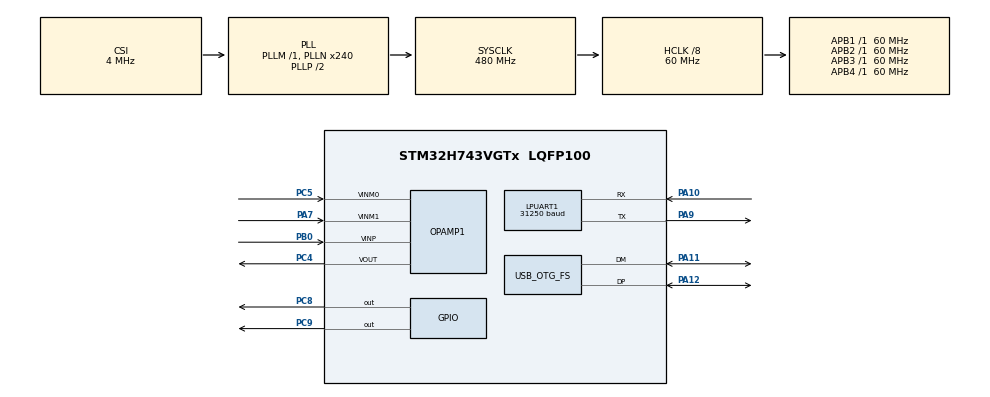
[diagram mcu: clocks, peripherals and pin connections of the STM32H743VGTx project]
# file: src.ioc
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ADC1.Channel-1\#ChannelRegularConversion=ADC_CHANNEL_4
ADC1.ContinuousConvMode=ENABLE
ADC1.ConversionDataManagement=ADC_CONVERSIONDATA_DMA_CIRCULAR
ADC1.NbrOfConversionFlag=1
ADC1.OffsetNumber-1\#ChannelRegularConversion=ADC_OFFSET_NONE
ADC1.OffsetSignedSaturation-1\#ChannelRegularConversion=DISABLE
ADC1.OversamplingMode=ENABLE
ADC1.Rank-1\#ChannelRegularConversion=1
ADC1.Ratio=32
ADC1.RightBitShift=ADC_RIGHTBITSHIFT_5
ADC1.SamplingTime-1\#ChannelRegularConversion=ADC_SAMPLETIME_16CYCLES_5
ADC1.master=1
Bdma.LPUART1_TX.0.Direction=DMA_MEMORY_TO_PERIPH
Bdma.LPUART1_TX.0.EventEnable=DISABLE
Bdma.LPUART1_TX.0.Instance=BDMA_Channel0
Bdma.LPUART1_TX.0.MemDataAlignment=DMA_MDATAALIGN_BYTE
Bdma.LPUART1_TX.0.MemInc=DMA_MINC_ENABLE
Bdma.LPUART1_TX.0.Mode=DMA_NORMAL
Bdma.LPUART1_TX.0.PeriphDataAlignment=DMA_PDATAALIGN_BYTE
Bdma.LPUART1_TX.0.PeriphInc=DMA_PINC_DISABLE
Bdma.LPUART1_TX.0.Polarity=HAL_DMAMUX_REQ_GEN_RISING
Bdma.LPUART1_TX.0.Priority=DMA_PRIORITY_LOW
Bdma.LPUART1_TX.0.RequestNumber=1
Bdma.LPUART1_TX.0.SignalID=NONE
Bdma.LPUART1_TX.0.SyncEnable=DISABLE
Bdma.LPUART1_TX.0.SyncPolarity=HAL_DMAMUX_SYNC_NO_EVENT
Bdma.LPUART1_TX.0.SyncRequestNumber=1
Bdma.LPUART1_TX.0.SyncSignalID=NONE
Bdma.Request0=LPUART1_TX
Bdma.RequestsNb=1
CORTEX_M7.default_mode_Activation=1
Dma.ADC1.0.Direction=DMA_PERIPH_TO_MEMORY
Dma.ADC1.0.EventEnable=DISABLE
Dma.ADC1.0.FIFOMode=DMA_FIFOMODE_DISABLE
Dma.ADC1.0.Instance=DMA1_Stream0
Dma.ADC1.0.MemDataAlignment=DMA_MDATAALIGN_HALFWORD
Dma.ADC1.0.MemInc=DMA_MINC_ENABLE
Dma.ADC1.0.Mode=DMA_CIRCULAR
Dma.ADC1.0.PeriphDataAlignment=DMA_PDATAALIGN_HALFWORD
Dma.ADC1.0.PeriphInc=DMA_PINC_DISABLE
Dma.ADC1.0.Polarity=HAL_DMAMUX_REQ_GEN_RISING
Dma.ADC1.0.Priority=DMA_PRIORITY_LOW
Dma.ADC1.0.RequestNumber=1
Dma.ADC1.0.SignalID=NONE
Dma.ADC1.0.SyncEnable=DISABLE
Dma.ADC1.0.SyncPolarity=HAL_DMAMUX_SYNC_NO_EVENT
Dma.ADC1.0.SyncRequestNumber=1
Dma.ADC1.0.SyncSignalID=NONE
Dma.Request0=ADC1
LPUART1.BaudRate=31250
LPUART1.Mode=UART_MODE_TX
Mcu.Family=STM32H7
Mcu.Name=STM32H743VGTx
Mcu.Package=LQFP100
NVIC.BDMA_Channel0_IRQn=true\:0\:0\:false\:false\:true\:false\:true\:true
NVIC.DMA1_Stream0_IRQn=true\:0\:0\:false\:false\:true\:false\:true\:true
NVIC.LPUART1_IRQn=true\:0\:0\:false\:false\:true\:false\:true\:true
NVIC.OTG_FS_IRQn=true\:0\:0\:false\:false\:true\:false\:true\:true
NVIC.PriorityGroup=NVIC_PRIORITYGROUP_4
OPAMP1.PgaGain=OPAMP_PGA_GAIN_16_OR_MINUS_15
OPAMP1.SelfCalibration=Enable
OPAMP1.UserTrimming=OPAMP_TRIMMING_USER
PA10.Mode=Asynchronous
PA10.Signal=LPUART1_RX
PA11.Mode=Device_Only
PA11.Signal=USB_OTG_FS_DM
PA12.Mode=Device_Only
PA12.Signal=USB_OTG_FS_DP
PA13\ (JTMS/SWDIO).Mode=Trace_Asynchronous_SW
PA13\ (JTMS/SWDIO).Signal=DEBUG_JTMS-SWDIO
PA14\ (JTCK/SWCLK).Mode=Trace_Asynchronous_SW
PA14\ (JTCK/SWCLK).Signal=DEBUG_JTCK-SWCLK
PA7.Mode=PGA Connected-INVERTINGINPUT_IO0_IO1_BIAS
PA7.Signal=OPAMP1_VINM1
PA9.Mode=Asynchronous
PA9.Signal=LPUART1_TX
PB0.Mode=PGA Connected-INVERTINGINPUT_IO0_IO1_BIAS
PB0.Signal=OPAMP1_VINP
PB3\ (JTDO/TRACESWO).Mode=Trace_Asynchronous_SW
PB3\ (JTDO/TRACESWO).Signal=DEBUG_JTDO-SWO
PC4.Mode=PGA Connected-INVERTINGINPUT_IO0_IO1_BIAS
PC4.Signal=OPAMP1_VOUT
PC5.Mode=PGA Connected-INVERTINGINPUT_IO0_IO1_BIAS
PC5.Signal=OPAMP1_VINM0
PC8.Signal=GPIO_Output
PC9.Signal=GPIO_Output
ProjectManager.HeapSize=0x200
ProjectManager.StackSize=0x400
ProjectManager.TargetToolchain=CMake
RCC.ADCFreq_Value=76800000
RCC.APB1Freq_Value=60000000
RCC.APB2Freq_Value=60000000
RCC.APB3Freq_Value=60000000
RCC.APB4Freq_Value=60000000
RCC.CKPERSourceSelection=RCC_CLKPSOURCE_CSI
RCC.CortexFreq_Value=60000000
RCC.Cortex_Div=SYSTICK_CLKSOURCE_HCLK_DIV8
RCC.DIVM1=1
RCC.DIVM2=1
RCC.DIVM3=1
RCC.DIVN1=240
RCC.DIVN2=96
RCC.DIVN3=4
RCC.DIVP2=5
RCC.DIVQ2=5
RCC.HCLKFreq_Value=60000000
RCC.HPRE=RCC_HCLK_DIV8
RCC.LPUART1CLockSelection=RCC_LPUART1CLKSOURCE_CSI
RCC.PLLSourceVirtual=RCC_PLLSOURCE_CSI
RCC.SYSCLKFreq_VALUE=480000000
RCC.SYSCLKSource=RCC_SYSCLKSOURCE_PLLCLK
RCC.USBCLockSelection=RCC_USBCLKSOURCE_HSI48
RCC.USBFreq_Value=48000000
USB_DEVICE.CLASS_NAME_FS=CDC
USB_DEVICE.VirtualMode-CDC_FS=Cdc
USB_DEVICE.VirtualModeFS=Cdc_FS
USB_OTG_FS.VirtualMode=Device_Only
VP_ADC1_OPAMP1_OUT.Mode=IN4-OPAMP1-Single-Ended
VP_MEMORYMAP_VS_MEMORYMAP.Mode=CurAppReg
VP_USB_DEVICE_VS_USB_DEVICE_CDC_FS.Mode=CDC_FS
VREF+.Mode=InternalMode
VREF+.Signal=VREFBUF_OUT
VREFBUF.VoltageScaling=SYSCFG_VREFBUF_VOLTAGE_SCALE2
board=custom

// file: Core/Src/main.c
/* USER CODE BEGIN Header */
/**
  ******************************************************************************
  * @file           : main.c
  * @brief          : Main program body
  ******************************************************************************
  * @attention
  *
  * Copyright (c) 2026 STMicroelectronics.
  * All rights reserved.
  *
  * This software is licensed under terms that can be found in the LICENSE file
  * in the root directory of this software component.
  * If no LICENSE file comes with this software, it is provided AS-IS.
  *
  ******************************************************************************
  */
/* USER CODE END Header */
#include "main.h"
#include "usb_device.h"

/* USER CODE BEGIN Includes */
#include "usbd_cdc_if.h"
#include "midiguitar.h"
/* USER CODE END Includes */

ADC_HandleTypeDef hadc1;
DMA_HandleTypeDef hdma_adc1;

UART_HandleTypeDef hlpuart1;
DMA_HandleTypeDef hdma_lpuart1_tx;

OPAMP_HandleTypeDef hopamp1;

void SystemClock_Config(void);
static void MPU_Config(void);
static void MX_GPIO_Init(void);
static void MX_BDMA_Init(void);
static void MX_DMA_Init(void);
static void MX_LPUART1_UART_Init(void);
static void MX_ADC1_Init(void);
static void MX_OPAMP1_Init(void);

int main(void)
{

  /* MPU Configuration--------------------------------------------------------*/
  MPU_Config();

  /* MCU Configuration--------------------------------------------------------*/

  /* Reset of all peripherals, Initializes the Flash interface and the Systick. */
  HAL_Init();

  /* Configure the system clock */
  SystemClock_Config();

  /* Initialize all configured peripherals */
  MX_GPIO_Init();
  MX_BDMA_Init();
  MX_DMA_Init();
  MX_LPUART1_UART_Init();
  MX_ADC1_Init();
  MX_OPAMP1_Init();
  MX_USB_DEVICE_Init();
  /* USER CODE BEGIN 2 */
  HAL_OPAMP_Start(&hopamp1);
  enum { N_INPUT = SAMPLES << 1 };
  __attribute__((section(".dma"))) static uint16_t inbuf[N_INPUT];
  bzero(inbuf, sizeof(inbuf));
  struct midiguitar mg = {};
  HAL_GPIO_WritePin(GPIOC, GPIO_PIN_8, GPIO_PIN_SET);
  HAL_ADC_Start_DMA(&hadc1, (uint32_t *)inbuf, N_INPUT);
  /* USER CODE END 2 */

  /* Infinite loop */
  /* USER CODE BEGIN WHILE */
  while (1)
  {
    const uint16_t k = __HAL_DMA_GET_COUNTER(hadc1.DMA_Handle);
    float input[SAMPLES];
    int32_t s = 0;
    for (uint16_t i = 0; i < SAMPLES; ++i) s += inbuf[(N_INPUT - k + i + SAMPLES) & (N_INPUT - 1)];
    s /= SAMPLES;
    for (uint16_t i = 0; i < SAMPLES; ++i)
      input[i] = (inbuf[(N_INPUT - k + i + SAMPLES) & (N_INPUT - 1)] - s) / 32768.0;
    __attribute__((section(".bdma"))) static uint8_t output[MIDI_CAP];
    const int t0 = HAL_GetTick();
    const int n = midiguitar(&mg, input, output);
    const int t1 = HAL_GetTick();
    if (!n) continue;
    while (HAL_UART_GetState(&hlpuart1) != HAL_UART_STATE_READY);
    HAL_UART_Transmit_DMA(&hlpuart1, output, n);
    __attribute__((section(".dma"))) static uint8_t telemetry[64];
    const int8_t l = sprintf((char *)telemetry, "%d %d %d\r\n", n, t1 - t0, (int)inbuf[0]);
    CDC_Transmit_FS(telemetry, l);
    HAL_GPIO_TogglePin(GPIOC, GPIO_PIN_9);
    /* USER CODE END WHILE */

  }
}

void SystemClock_Config(void)
{
  RCC_OscInitTypeDef RCC_OscInitStruct = {0};
  RCC_ClkInitTypeDef RCC_ClkInitStruct = {0};

  /** Supply configuration update enable
  */
  HAL_PWREx_ConfigSupply(PWR_LDO_SUPPLY);

  /** Configure the main internal regulator output voltage
  */
  __HAL_PWR_VOLTAGESCALING_CONFIG(PWR_REGULATOR_VOLTAGE_SCALE0);

  while(!__HAL_PWR_GET_FLAG(PWR_FLAG_VOSRDY)) {}

  /** Initializes the RCC Oscillators according to the specified parameters
  * in the RCC_OscInitTypeDef structure.
  */
  RCC_OscInitStruct.OscillatorType = RCC_OSCILLATORTYPE_HSI48|RCC_OSCILLATORTYPE_CSI;
  RCC_OscInitStruct.HSI48State = RCC_HSI48_ON;
  RCC_OscInitStruct.CSIState = RCC_CSI_ON;
  RCC_OscInitStruct.CSICalibrationValue = RCC_CSICALIBRATION_DEFAULT;
  RCC_OscInitStruct.PLL.PLLState = RCC_PLL_ON;
  RCC_OscInitStruct.PLL.PLLSource = RCC_PLLSOURCE_CSI;
  RCC_OscInitStruct.PLL.PLLM = 1;
  RCC_OscInitStruct.PLL.PLLN = 240;
  RCC_OscInitStruct.PLL.PLLP = 2;
  RCC_OscInitStruct.PLL.PLLQ = 2;
  RCC_OscInitStruct.PLL.PLLR = 2;
  RCC_OscInitStruct.PLL.PLLRGE = RCC_PLL1VCIRANGE_2;
  RCC_OscInitStruct.PLL.PLLVCOSEL = RCC_PLL1VCOWIDE;
  RCC_OscInitStruct.PLL.PLLFRACN = 0;
  if (HAL_RCC_OscConfig(&RCC_OscInitStruct) != HAL_OK)
  {
    Error_Handler();
  }

  /** Initializes the CPU, AHB and APB buses clocks
  */
  RCC_ClkInitStruct.ClockType = RCC_CLOCKTYPE_HCLK|RCC_CLOCKTYPE_SYSCLK
                              |RCC_CLOCKTYPE_PCLK1|RCC_CLOCKTYPE_PCLK2
                              |RCC_CLOCKTYPE_D3PCLK1|RCC_CLOCKTYPE_D1PCLK1;
  RCC_ClkInitStruct.SYSCLKSource = RCC_SYSCLKSOURCE_PLLCLK;
  RCC_ClkInitStruct.SYSCLKDivider = RCC_SYSCLK_DIV1;
  RCC_ClkInitStruct.AHBCLKDivider = RCC_HCLK_DIV8;
  RCC_ClkInitStruct.APB3CLKDivider = RCC_APB3_DIV1;
  RCC_ClkInitStruct.APB1CLKDivider = RCC_APB1_DIV1;
  RCC_ClkInitStruct.APB2CLKDivider = RCC_APB2_DIV1;
  RCC_ClkInitStruct.APB4CLKDivider = RCC_APB4_DIV1;

  if (HAL_RCC_ClockConfig(&RCC_ClkInitStruct, FLASH_LATENCY_0) != HAL_OK)
  {
    Error_Handler();
  }
}

static void MX_ADC1_Init(void)
{

  ADC_MultiModeTypeDef multimode = {0};
  ADC_ChannelConfTypeDef sConfig = {0};

  /** Common config
  */
  hadc1.Instance = ADC1;
  hadc1.Init.ClockPrescaler = ADC_CLOCK_ASYNC_DIV1;
  hadc1.Init.Resolution = ADC_RESOLUTION_16B;
  hadc1.Init.ScanConvMode = ADC_SCAN_DISABLE;
  hadc1.Init.EOCSelection = ADC_EOC_SINGLE_CONV;
  hadc1.Init.LowPowerAutoWait = DISABLE;
  hadc1.Init.ContinuousConvMode = ENABLE;
  hadc1.Init.NbrOfConversion = 1;
  hadc1.Init.DiscontinuousConvMode = DISABLE;
  hadc1.Init.ExternalTrigConv = ADC_SOFTWARE_START;
  hadc1.Init.ExternalTrigConvEdge = ADC_EXTERNALTRIGCONVEDGE_NONE;
  hadc1.Init.ConversionDataManagement = ADC_CONVERSIONDATA_DMA_CIRCULAR;
  hadc1.Init.Overrun = ADC_OVR_DATA_PRESERVED;
  hadc1.Init.LeftBitShift = ADC_LEFTBITSHIFT_NONE;
  hadc1.Init.OversamplingMode = ENABLE;
  hadc1.Init.Oversampling.Ratio = 32;
  hadc1.Init.Oversampling.RightBitShift = ADC_RIGHTBITSHIFT_5;
  hadc1.Init.Oversampling.TriggeredMode = ADC_TRIGGEREDMODE_SINGLE_TRIGGER;
  hadc1.Init.Oversampling.OversamplingStopReset = ADC_REGOVERSAMPLING_CONTINUED_MODE;
  if (HAL_ADC_Init(&hadc1) != HAL_OK)
  {
    Error_Handler();
  }

  /** Configure the ADC multi-mode
  */
  multimode.Mode = ADC_MODE_INDEPENDENT;
  if (HAL_ADCEx_MultiModeConfigChannel(&hadc1, &multimode) != HAL_OK)
  {
    Error_Handler();
  }

  /** Configure Regular Channel
  */
  sConfig.Channel = ADC_CHANNEL_4;
  sConfig.Rank = ADC_REGULAR_RANK_1;
  sConfig.SamplingTime = ADC_SAMPLETIME_16CYCLES_5;
  sConfig.SingleDiff = ADC_SINGLE_ENDED;
  sConfig.OffsetNumber = ADC_OFFSET_NONE;
  sConfig.Offset = 0;
  sConfig.OffsetSignedSaturation = DISABLE;
  if (HAL_ADC_ConfigChannel(&hadc1, &sConfig) != HAL_OK)
  {
    Error_Handler();
  }

}

static void MX_LPUART1_UART_Init(void)
{

  hlpuart1.Instance = LPUART1;
  hlpuart1.Init.BaudRate = 31250;
  hlpuart1.Init.WordLength = UART_WORDLENGTH_8B;
  hlpuart1.Init.StopBits = UART_STOPBITS_1;
  hlpuart1.Init.Parity = UART_PARITY_NONE;
  hlpuart1.Init.Mode = UART_MODE_TX;
  hlpuart1.Init.HwFlowCtl = UART_HWCONTROL_NONE;
  hlpuart1.Init.OneBitSampling = UART_ONE_BIT_SAMPLE_DISABLE;
  hlpuart1.Init.ClockPrescaler = UART_PRESCALER_DIV1;
  hlpuart1.AdvancedInit.AdvFeatureInit = UART_ADVFEATURE_NO_INIT;
  hlpuart1.FifoMode = UART_FIFOMODE_DISABLE;
  if (HAL_UART_Init(&hlpuart1) != HAL_OK)
  {
    Error_Handler();
  }
  if (HAL_UARTEx_SetTxFifoThreshold(&hlpuart1, UART_TXFIFO_THRESHOLD_1_8) != HAL_OK)
  {
    Error_Handler();
  }
  if (HAL_UARTEx_SetRxFifoThreshold(&hlpuart1, UART_RXFIFO_THRESHOLD_1_8) != HAL_OK)
  {
    Error_Handler();
  }
  if (HAL_UARTEx_DisableFifoMode(&hlpuart1) != HAL_OK)
  {
    Error_Handler();
  }

}

static void MX_OPAMP1_Init(void)
{

  hopamp1.Instance = OPAMP1;
  hopamp1.Init.Mode = OPAMP_PGA_MODE;
  hopamp1.Init.NonInvertingInput = OPAMP_NONINVERTINGINPUT_IO0;
  hopamp1.Init.PowerMode = OPAMP_POWERMODE_NORMAL;
  hopamp1.Init.PgaConnect = OPAMP_PGA_CONNECT_INVERTINGINPUT_IO0_IO1_BIAS;
  hopamp1.Init.PgaGain = OPAMP_PGA_GAIN_16_OR_MINUS_15;
  hopamp1.Init.UserTrimming = OPAMP_TRIMMING_USER;
  if (HAL_OPAMP_Init(&hopamp1) != HAL_OK)
  {
    Error_Handler();
  }
  if (HAL_OPAMP_SelfCalibrate(&hopamp1) != HAL_OK)
  {
    Error_Handler();
  }

}

static void MX_BDMA_Init(void)
{

  /* DMA controller clock enable */
  __HAL_RCC_BDMA_CLK_ENABLE();

  /* DMA interrupt init */
  /* BDMA_Channel0_IRQn interrupt configuration */
  HAL_NVIC_SetPriority(BDMA_Channel0_IRQn, 0, 0);
  HAL_NVIC_EnableIRQ(BDMA_Channel0_IRQn);

}

static void MX_DMA_Init(void)
{

  /* DMA controller clock enable */
  __HAL_RCC_DMA1_CLK_ENABLE();

  /* DMA interrupt init */
  /* DMA1_Stream0_IRQn interrupt configuration */
  HAL_NVIC_SetPriority(DMA1_Stream0_IRQn, 0, 0);
  HAL_NVIC_EnableIRQ(DMA1_Stream0_IRQn);

}

static void MX_GPIO_Init(void)
{
  GPIO_InitTypeDef GPIO_InitStruct = {0};

  /* GPIO Ports Clock Enable */
  __HAL_RCC_GPIOE_CLK_ENABLE();
  __HAL_RCC_GPIOC_CLK_ENABLE();
  __HAL_RCC_GPIOH_CLK_ENABLE();
  __HAL_RCC_GPIOA_CLK_ENABLE();
  __HAL_RCC_GPIOB_CLK_ENABLE();
  __HAL_RCC_GPIOD_CLK_ENABLE();

  /*Configure GPIO pin Output Level */
  HAL_GPIO_WritePin(GPIOC, GPIO_PIN_8|GPIO_PIN_9, GPIO_PIN_RESET);

  /*Configure GPIO pins : PE2 PE3 PE4 PE5
                           PE6 PE7 PE8 PE9
                           PE10 PE11 PE12 PE13
                           PE14 PE15 PE0 PE1 */
  GPIO_InitStruct.Pin = GPIO_PIN_2|GPIO_PIN_3|GPIO_PIN_4|GPIO_PIN_5
                          |GPIO_PIN_6|GPIO_PIN_7|GPIO_PIN_8|GPIO_PIN_9
                          |GPIO_PIN_10|GPIO_PIN_11|GPIO_PIN_12|GPIO_PIN_13
                          |GPIO_PIN_14|GPIO_PIN_15|GPIO_PIN_0|GPIO_PIN_1;
  GPIO_InitStruct.Mode = GPIO_MODE_ANALOG;
  GPIO_InitStruct.Pull = GPIO_NOPULL;
  HAL_GPIO_Init(GPIOE, &GPIO_InitStruct);

  /*Configure GPIO pins : PC13 PC14 PC15 PC0
                           PC1 PC2 PC3 PC6
                           PC7 PC10 PC11 PC12 */
  GPIO_InitStruct.Pin = GPIO_PIN_13|GPIO_PIN_14|GPIO_PIN_15|GPIO_PIN_0
                          |GPIO_PIN_1|GPIO_PIN_2|GPIO_PIN_3|GPIO_PIN_6
                          |GPIO_PIN_7|GPIO_PIN_10|GPIO_PIN_11|GPIO_PIN_12;
  GPIO_InitStruct.Mode = GPIO_MODE_ANALOG;
  GPIO_InitStruct.Pull = GPIO_NOPULL;
  HAL_GPIO_Init(GPIOC, &GPIO_InitStruct);

  /*Configure GPIO pins : PH0 PH1 */
  GPIO_InitStruct.Pin = GPIO_PIN_0|GPIO_PIN_1;
  GPIO_InitStruct.Mode = GPIO_MODE_ANALOG;
  GPIO_InitStruct.Pull = GPIO_NOPULL;
  HAL_GPIO_Init(GPIOH, &GPIO_InitStruct);

  /*Configure GPIO pins : PA0 PA1 PA2 PA3
                           PA4 PA5 PA6 PA8
                           PA15 */
  GPIO_InitStruct.Pin = GPIO_PIN_0|GPIO_PIN_1|GPIO_PIN_2|GPIO_PIN_3
                          |GPIO_PIN_4|GPIO_PIN_5|GPIO_PIN_6|GPIO_PIN_8
                          |GPIO_PIN_15;
  GPIO_InitStruct.Mode = GPIO_MODE_ANALOG;
  GPIO_InitStruct.Pull = GPIO_NOPULL;
  HAL_GPIO_Init(GPIOA, &GPIO_InitStruct);

  /*Configure GPIO pins : PB1 PB2 PB10 PB11
                           PB12 PB13 PB14 PB15
                           PB4 PB5 PB6 PB7
                           PB8 PB9 */
  GPIO_InitStruct.Pin = GPIO_PIN_1|GPIO_PIN_2|GPIO_PIN_10|GPIO_PIN_11
                          |GPIO_PIN_12|GPIO_PIN_13|GPIO_PIN_14|GPIO_PIN_15
                          |GPIO_PIN_4|GPIO_PIN_5|GPIO_PIN_6|GPIO_PIN_7
                          |GPIO_PIN_8|GPIO_PIN_9;
  GPIO_InitStruct.Mode = GPIO_MODE_ANALOG;
  GPIO_InitStruct.Pull = GPIO_NOPULL;
  HAL_GPIO_Init(GPIOB, &GPIO_InitStruct);

  /*Configure GPIO pins : PD8 PD9 PD10 PD11
                           PD12 PD13 PD14 PD15
                           PD0 PD1 PD2 PD3
                           PD4 PD5 PD6 PD7 */
  GPIO_InitStruct.Pin = GPIO_PIN_8|GPIO_PIN_9|GPIO_PIN_10|GPIO_PIN_11
                          |GPIO_PIN_12|GPIO_PIN_13|GPIO_PIN_14|GPIO_PIN_15
                          |GPIO_PIN_0|GPIO_PIN_1|GPIO_PIN_2|GPIO_PIN_3
                          |GPIO_PIN_4|GPIO_PIN_5|GPIO_PIN_6|GPIO_PIN_7;
  GPIO_InitStruct.Mode = GPIO_MODE_ANALOG;
  GPIO_InitStruct.Pull = GPIO_NOPULL;
  HAL_GPIO_Init(GPIOD, &GPIO_InitStruct);

  /*Configure GPIO pins : PC8 PC9 */
  GPIO_InitStruct.Pin = GPIO_PIN_8|GPIO_PIN_9;
  GPIO_InitStruct.Mode = GPIO_MODE_OUTPUT_PP;
  GPIO_InitStruct.Pull = GPIO_NOPULL;
  GPIO_InitStruct.Speed = GPIO_SPEED_FREQ_LOW;
  HAL_GPIO_Init(GPIOC, &GPIO_InitStruct);

}

 /* MPU Configuration */

void MPU_Config(void)
{
  MPU_Region_InitTypeDef MPU_InitStruct = {0};

  /* Disables the MPU */
  HAL_MPU_Disable();

  /** Initializes and configures the Region and the memory to be protected
  */
  MPU_InitStruct.Enable = MPU_REGION_ENABLE;
  MPU_InitStruct.Number = MPU_REGION_NUMBER0;
  MPU_InitStruct.BaseAddress = 0x0;
  MPU_InitStruct.Size = MPU_REGION_SIZE_4GB;
  MPU_InitStruct.SubRegionDisable = 0x87;
  MPU_InitStruct.TypeExtField = MPU_TEX_LEVEL0;
  MPU_InitStruct.AccessPermission = MPU_REGION_NO_ACCESS;
  MPU_InitStruct.DisableExec = MPU_INSTRUCTION_ACCESS_DISABLE;
  MPU_InitStruct.IsShareable = MPU_ACCESS_SHAREABLE;
  MPU_InitStruct.IsCacheable = MPU_ACCESS_NOT_CACHEABLE;
  MPU_InitStruct.IsBufferable = MPU_ACCESS_NOT_BUFFERABLE;

  HAL_MPU_ConfigRegion(&MPU_InitStruct);
  /* Enables the MPU */
  HAL_MPU_Enable(MPU_PRIVILEGED_DEFAULT);

}

void Error_Handler(void)
{
  __disable_irq();
  while (1)
  {
  }
}
